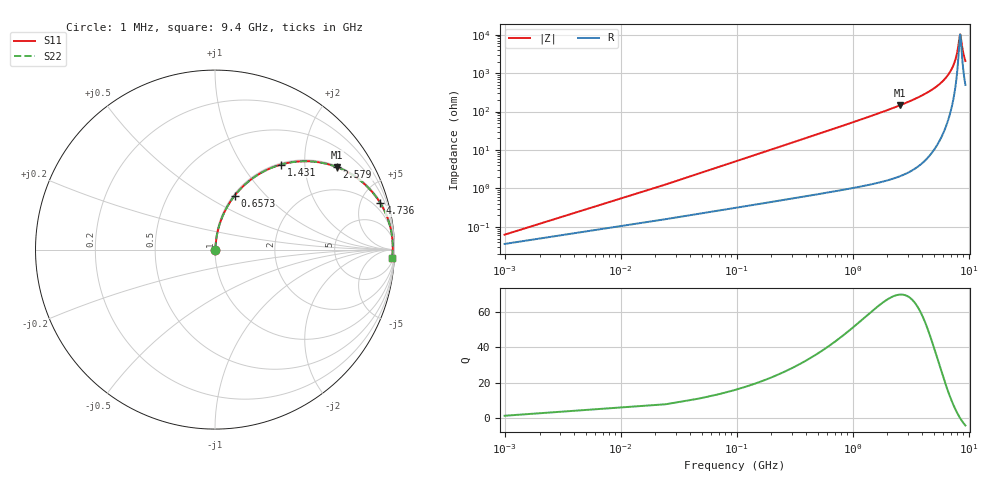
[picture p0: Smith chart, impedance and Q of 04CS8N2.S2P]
! Coilcraft 0402CS-8N2 Chip Inductor
! 29 May 2002
# MHZ S MA R 50
!Freq  MagS11  AngS11  MagS21  AngS21  MagS12  AngS12  MagS22  AngS22
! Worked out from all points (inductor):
!   402 points, 1 MHz to 9.4 GHz, reference 50 ohm
!   read as one part in series: L = 8.2 nH near 47.88 MHz
!   highest Q = 69.9 at 2.579 GHz (marker M1), where L = 9.04 nH
!   self-resonance near 8.463 GHz
!   S11 on the Smith chart (normalised r, x): 1 MHz: 1.00, +0.00; 657.3 MHz: 1.02, +0.68; 1.431 GHz: 1.03, +1.52; 2.579 GHz: 1.04, +2.93; 4.736 GHz: 1.16, +7.09; 9.4 GHz: 11, -40
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1  0.0006295 54.9  0.9996 -0.0  0.9996 -0.0  0.0006295 54.9
71.32  0.03672 83.7  0.9967 -2.1  0.9967 -2.1  0.03672 83.7
94.76  0.04872 83.6  0.9957 -2.8  0.9957 -2.8  0.04872 83.6
141.64  0.07263 82.9  0.9936 -4.2  0.9936 -4.2  0.07263 82.9
211.96  0.1082 81.4  0.9896 -6.2  0.9896 -6.2  0.1082 81.4
329.16  0.1666 78.5  0.9804 -9.6  0.9804 -9.6  0.1666 78.5
657.32  0.3203 70.0  0.9397 -18.7  0.9397 -18.7  0.3203 70.0
985.48  0.4541 61.9  0.8821 -27.0  0.8821 -27.0  0.4541 61.9
1430.84  0.5997 52.2  0.7902 -36.8  0.7902 -36.8  0.5997 52.2
1571.48  0.6375 49.5  0.7602 -39.6  0.7602 -39.6  0.6375 49.5
2579.4  0.8204 34.1  0.5601 -55.1  0.5601 -55.1  0.8204 34.1
3141.96  0.8772 27.9  0.4674 -61.3  0.4674 -61.3  0.8772 27.9
4712.44  0.9563 15.8  0.2722 -73.0  0.2722 -73.0  0.9563 15.8
4735.88  0.957 15.7  0.2698 -73.1  0.2698 -73.1  0.957 15.7
6282.92  0.9837 7.9  0.1372 -79.3  0.1372 -79.3  0.9837 7.9
7220.52  0.9894 4.2  0.07354 -79.6  0.07354 -79.6  0.9894 4.2
7853.4  0.9906 2.0  0.03596 -73.8  0.03596 -73.8  0.9906 2.0
8087.8  0.9906 1.2  0.02339 -65.7  0.02339 -65.7  0.9906 1.2
8392.52  0.9903 0.3  0.01076 -26.0  0.01076 -26.0  0.9903 0.3
8486.28  0.9902 -0.0  0.00981 1.5  0.00981 1.5  0.9902 -0.0
8978.52  0.989 -1.5  0.02788 66.0  0.02788 66.0  0.989 -1.5
9400  0.9875 -2.7  0.04787 73.5  0.04787 73.5  0.9875 -2.7
